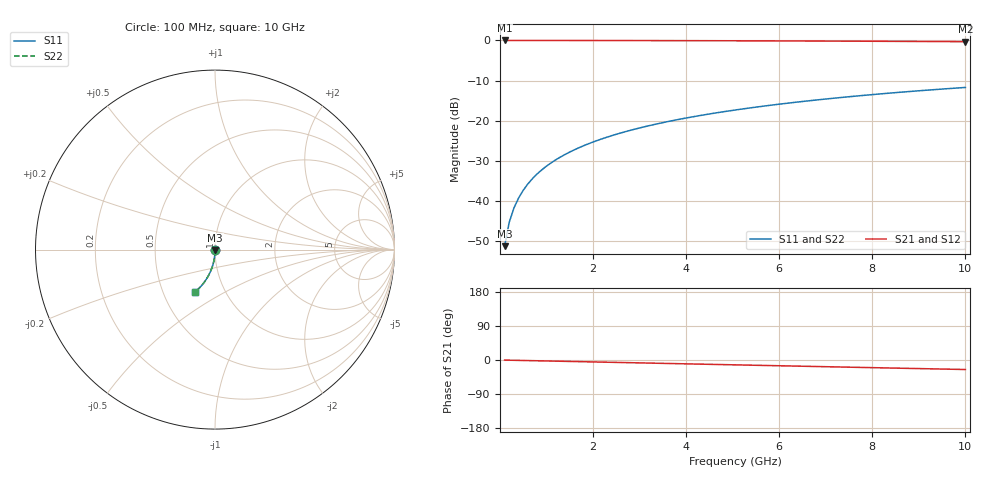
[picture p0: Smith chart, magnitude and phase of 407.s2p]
# Hz S RI R 50.00
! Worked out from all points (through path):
!   100 points, 100 MHz to 10 GHz, reference 50 ohm
!   highest |S21| = 0.00 dB at 100 MHz (marker M1); lowest = -0.3 dB at 10 GHz (marker M2)
!   group delay of S21, straight-line fit = 6.98 ps
!   lowest |S11| = -51.3 dB at 100 MHz (marker M3), VSWR 1.01, Z = 50 - j0.271 ohm
!   |S11| at or under -10 dB: start of sweep to end of sweep
!   |S22| runs from -51.3 to -11.7 dB; largest |S21 - S12| = 0
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1e8  0.000233 -0.00271  0.9997 -0.00442  0.9997 -0.00442  0.000233 -0.00271
2e8  0.000195 -0.00541  0.9997 -0.00884  0.9997 -0.00884  0.000195 -0.00541
3e8  0.000133 -0.00812  0.9996 -0.0133  0.9996 -0.0133  0.000133 -0.00812
4e8  4.7e-05 -0.0108  0.9995 -0.0177  0.9995 -0.0177  4.7e-05 -0.0108
5e8  -6.32e-05 -0.0135  0.9994 -0.0221  0.9994 -0.0221  -6.32e-05 -0.0135
6e8  -0.000198 -0.0162  0.9992 -0.0265  0.9992 -0.0265  -0.000198 -0.0162
7e8  -0.000356 -0.0189  0.9991 -0.031  0.9991 -0.031  -0.000356 -0.0189
8e8  -0.000538 -0.0216  0.9989 -0.0354  0.9989 -0.0354  -0.000538 -0.0216
9e8  -0.000744 -0.0243  0.9986 -0.0398  0.9986 -0.0398  -0.000744 -0.0243
1.1e9  -0.00123 -0.0297  0.9981 -0.0486  0.9981 -0.0486  -0.00123 -0.0297
1.4e9  -0.00213 -0.0378  0.9971 -0.0619  0.9971 -0.0619  -0.00213 -0.0378
1.8e9  -0.00368 -0.0485  0.9953 -0.0795  0.9953 -0.0795  -0.00368 -0.0485
2.1e9  -0.00508 -0.0566  0.9937 -0.0926  0.9937 -0.0926  -0.00508 -0.0566
2.5e9  -0.00728 -0.0672  0.9913 -0.1101  0.9913 -0.1101  -0.00728 -0.0672
2.9e9  -0.00986 -0.0777  0.9884 -0.1276  0.9884 -0.1276  -0.00986 -0.0777
3.4e9  -0.0136 -0.0907  0.9841 -0.1492  0.9841 -0.1492  -0.0136 -0.0907
4.2e9  -0.0208 -0.1111  0.9761 -0.1835  0.9761 -0.1835  -0.0208 -0.1111
5.1e9  -0.0305 -0.1334  0.9651 -0.2214  0.9651 -0.2214  -0.0305 -0.1334
5.9e9  -0.0406 -0.1524  0.9537 -0.2544  0.9537 -0.2544  -0.0406 -0.1524
6.7e9  -0.0519 -0.1706  0.9408 -0.2866  0.9408 -0.2866  -0.0519 -0.1706
8.4e9  -0.0798 -0.206  0.9089 -0.352  0.9089 -0.352  -0.0798 -0.206
1e10  -0.11 -0.2348  0.8741 -0.4093  0.8741 -0.4093  -0.11 -0.2348
